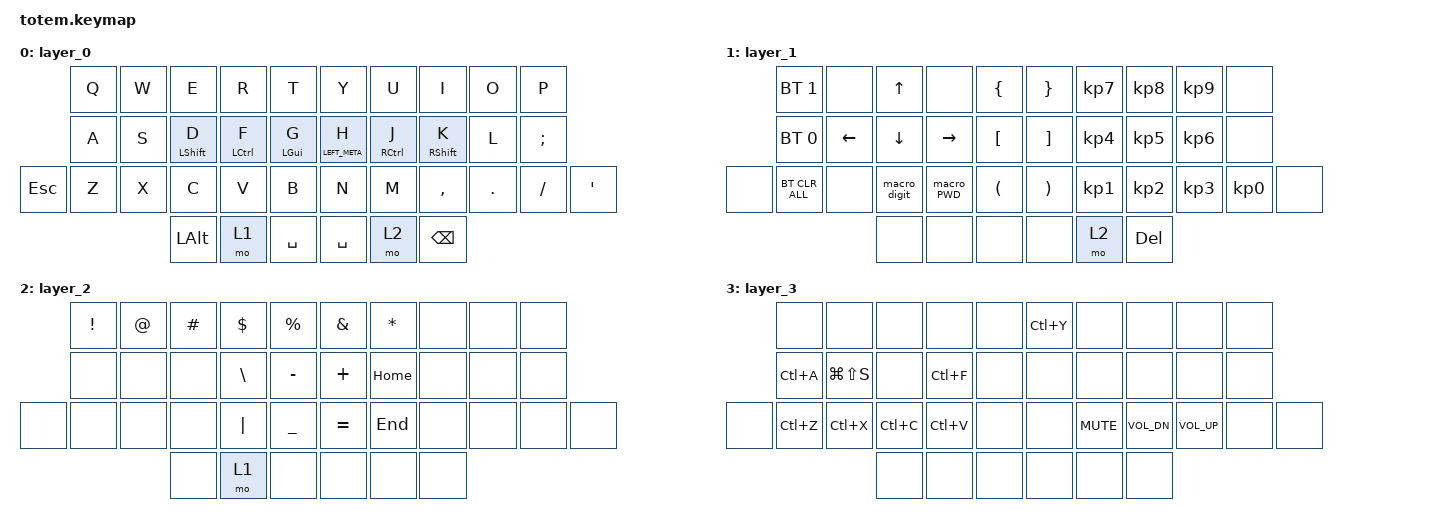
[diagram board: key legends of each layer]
//
//                                                        ▀▀▀▀▀     ▀▀▀▀▀          ▀▀█▀▀
//                                                        ▄▀▀▀▄  ▄  ▄▀▀▀▄  ▄  ▄▀▀▀▄  █  ▄▀▀▀▄
//                                                        █   █  █  █   █  █  █   █  █  █   █
//                                                         ▀▀▀   █   ▀▀▀   █   ▀▀▀   ▀   ▀▀▀
//                                                               █      ▄▄▄█▄▄▄    █   █  
//                                                               ▀      █  █  █     █▄█
//                                                             ▀▀▀▀▀    █  █  █      ▀
//                                                                      ▀  ▀  ▀
//
// ▄▄▄▄▄▄▄▄▄▄▄▄▄▄▄▄▄▄▄▄▄▄▄▄▄▄▄▄▄▄▄▄▄▄▄▄▄▄▄▄▄▄▄▄▄▄▄▄▄▄▄▄▄▄▄▄▄▄▄▄▄▄▄▄▄▄▄▄▄▄▄▄▄▄▄▄▄▄▄▄▄▄▄▄▄▄▄▄▄▄▄▄▄▄▄▄▄▄▄▄▄▄▄▄▄▄▄▄▄▄▄▄▄▄▄▄▄▄▄▄▄▄▄▄▄▄▄▄▄▄▄▄▄▄▄▄▄▄▄▄▄▄▄▄▄▄▄▄▄

#include <behaviors.dtsi>
#include <dt-bindings/zmk/bt.h>
#include <dt-bindings/zmk/keys.h>

&mt {
    quick-tap-ms = <50>;
    tapping-term-ms = <500>;
    flavor = "tap-preferred";
};

/ {
    combos {
        compatible = "zmk,combos";

        combo_TAB {
            bindings = <&kp TAB>;
            key-positions = <13 12>;
        };

        combo_RETURN {
            bindings = <&kp RETURN>;
            key-positions = <16 17>;
        };

        combo_AltSpace {
            bindings = <&kp LA(SPACE)>;
            key-positions = <24 23>;
        };

        combo_BackSpace {
            bindings = <&kp BACKSPACE>;
            key-positions = <27 28>;
        };

        combo_Del {
            bindings = <&kp DELETE>;
            key-positions = <6 7>;
        };
    };

    macros {
        macro_PWD: macro_PWD {
            compatible = "zmk,behavior-macro";
            #binding-cells = <0>;
            bindings = <&kp LS(V) &kp A &kp N &kp D &kp A &kp A &kp G &kp N1 &kp N2 &kp N3 &kp EXCL &kp EXCL &kp S &kp L &kp A &kp V &kp E>;
            label = "MACRO_PWD";
        };

        macro_digit: macro_digit {
            compatible = "zmk,behavior-macro";
            #binding-cells = <0>;
            bindings = <&kp N3 &kp N4 &kp N5 &kp N0 &kp N1 &kp N1>;
            label = "MACRO_DIGIT";
        };
    };

    keymap {
        compatible = "zmk,keymap";

        layer_0 {
            bindings = <
            &kp Q  &kp W  &kp E         &kp R        &kp T             &kp Y            &kp U        &kp I          &kp O       &kp P
            &kp A  &kp S  &mt LSHFT D   &mt LCTRL F  &mt LEFT_GUI G    &mt LEFT_META H  &mt RCTRL J  &mt RSHFT K    &kp L       &kp SEMICOLON
&kp ESCAPE  &kp Z  &kp X  &kp C         &kp V        &kp B             &kp N            &kp M        &kp COMMA      &kp PERIOD  &kp SLASH      &kp SQT
                          &kp LEFT_ALT  &mo 1        &kp SPACE         &kp SPACE        &mo 2        &kp BACKSPACE
            >;
        };

        layer_1 {
            bindings = <
       &bt BT_SEL 1    &none           &kp UP_ARROW    &none            &kp LEFT_BRACE          &kp RIGHT_BRACE        &kp KP_NUMBER_7  &kp KP_NUMBER_8  &kp KP_NUMBER_9  &none
       &bt BT_SEL 0    &kp LEFT_ARROW  &kp DOWN_ARROW  &kp RIGHT_ARROW  &kp LEFT_BRACKET        &kp RIGHT_BRACKET      &kp KP_NUMBER_4  &kp KP_NUMBER_5  &kp KP_NUMBER_6  &none
&none  &bt BT_CLR_ALL  &none           &macro_digit    &macro_PWD       &kp LEFT_PARENTHESIS    &kp RIGHT_PARENTHESIS  &kp KP_NUMBER_1  &kp KP_NUMBER_2  &kp KP_NUMBER_3  &kp KP_NUMBER_0  &none
                                       &none           &none            &none                   &none                  &mo 2            &kp DEL
            >;
        };

        layer_2 {
            bindings = <
       &kp EXCLAMATION  &kp AT_SIGN  &kp POUND  &kp DOLLAR     &kp PERCENT       &kp AMPERSAND  &kp ASTERISK  &none  &none  &none
       &none            &none        &none      &kp BACKSLASH  &kp MINUS         &kp PLUS       &kp HOME      &none  &none  &none
&none  &none            &none        &none      &kp PIPE       &kp UNDERSCORE    &kp EQUAL      &kp END       &none  &none  &none  &none
                                     &none      &mo 1          &none             &none          &none         &none
            >;
        };

        layer_3 {
            bindings = <
       &none      &none          &none      &none      &none    &kp LC(Y)  &none       &none         &none            &none
       &kp LC(A)  &kp LG(LS(S))  &none      &kp LC(F)  &none    &none      &none       &none         &none            &none
&none  &kp LC(Z)  &kp LC(X)      &kp LC(C)  &kp LC(V)  &none    &none      &kp C_MUTE  &kp C_VOL_DN  &kp C_VOLUME_UP  &none  &none
                                 &none      &none      &none    &none      &none       &none
            >;
        };
    };

    conditional_layers {
        compatible = "zmk,conditional-layers";

        L1L2isL3 {
            if-layers = <1 2>;
            then-layer = <3>;
        };
    };
};
